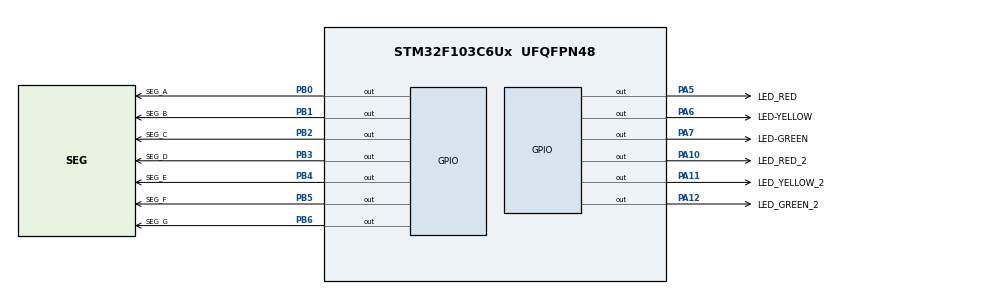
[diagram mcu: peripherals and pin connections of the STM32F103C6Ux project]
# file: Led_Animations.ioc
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Mcu.Family=STM32F1
Mcu.Name=STM32F103C6Ux
Mcu.Package=UFQFPN48
NVIC.PriorityGroup=NVIC_PRIORITYGROUP_4
PA10.GPIO_Label=LED_RED_2
PA10.Signal=GPIO_Output
PA11.GPIO_Label=LED_YELLOW_2
PA11.Signal=GPIO_Output
PA12.GPIO_Label=LED_GREEN_2
PA12.Signal=GPIO_Output
PA5.GPIO_Label=LED_RED
PA5.Signal=GPIO_Output
PA6.GPIO_Label=LED-YELLOW
PA6.Signal=GPIO_Output
PA7.GPIO_Label=LED-GREEN
PA7.Signal=GPIO_Output
PB0.GPIO_Label=SEG_A
PB0.Signal=GPIO_Output
PB1.GPIO_Label=SEG_B
PB1.Signal=GPIO_Output
PB2.GPIO_Label=SEG_C
PB2.Signal=GPIO_Output
PB3.GPIO_Label=SEG_D
PB3.Signal=GPIO_Output
PB4.GPIO_Label=SEG_E
PB4.Signal=GPIO_Output
PB5.GPIO_Label=SEG_F
PB5.Signal=GPIO_Output
PB6.GPIO_Label=SEG_G
PB6.Signal=GPIO_Output
ProjectManager.HeapSize=0x200
ProjectManager.StackSize=0x400
ProjectManager.TargetToolchain=STM32CubeIDE
RCC.APB1Freq_Value=8000000
RCC.APB2Freq_Value=8000000
board=custom

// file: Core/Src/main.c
/* USER CODE BEGIN Header */
/**
  ******************************************************************************
  * @file           : main.c
  * @brief          : Main program body
  ******************************************************************************
  * @attention
  *
  * Copyright (c) 2022 STMicroelectronics.
  * All rights reserved.
  *
  * This software is licensed under terms that can be found in the LICENSE file
  * in the root directory of this software component.
  * If no LICENSE file comes with this software, it is provided AS-IS.
  *
  ******************************************************************************
  */
/* USER CODE END Header */
#include "main.h"

/* USER CODE BEGIN PTD */
typedef enum {
	RED = 0x06,
	GREEN = 0x03,
	YELLOW = 0x05,
} trafficLightColor;

/* USER CODE END PTD */

/* USER CODE BEGIN PD */
// Delay time
#define	DELAY_TIME			1000 // 1 second delay

// Toggle every period (in seconds)
#define	TOGGLE_PERIOD		2

// Traffic light configuration (in seconds)
#define	GREEN_LIGHT_TIME	3
#define	YELLOW_LIGHT_TIME	2
#define	RED_LIGHT_TIME		GREEN_LIGHT_TIME + YELLOW_LIGHT_TIME

// Seven segment
#define SEVEN_SEG_VALUES	10

// Counter max value
#define COUNTER_MAX			255 // 8-bit counter
/* USER CODE END PD */

/* USER CODE BEGIN PV */
static uint8_t secCounter = 0; // second counter for exercises below

// Two traffic lights' state for 4-way configuration

const uint8_t sevenSegValue[SEVEN_SEG_VALUES] = {
	0x40, // 0
	0x79, // 1
	0x24, // 2
	0x30, // 3
	0x19, // 4
	0x12, // 5
	0x02, // 6
	0x78, // 7
	0x00, // 8
	0x10, // 9
};
/* USER CODE END PV */

void SystemClock_Config(void);
static void MX_GPIO_Init(void);
/* USER CODE BEGIN PFP */
void turnLedOn(GPIO_TypeDef* port, uint16_t pin);
void turnLedOff(GPIO_TypeDef* port, uint16_t pin);
void display7SEG(int num);
void exercise1(void);
void exercise2(void);
void trafficLight1Operation(trafficLightColor trafficLight1);
void trafficLight2Operation(trafficLightColor trafficLight2);
void exercise3(void);
void exercise4(void);
/* USER CODE END PFP */

/* USER CODE BEGIN 0 */
void turnLedOn(GPIO_TypeDef* port, uint16_t pin) {
	HAL_GPIO_WritePin (port , pin, GPIO_PIN_RESET);
}

void turnLedOff(GPIO_TypeDef* port, uint16_t pin) {
	HAL_GPIO_WritePin (port , pin, GPIO_PIN_SET);
}

void display7SEG(int num) {
	uint8_t index = 0;
	HAL_GPIO_WritePin(SEG_A_GPIO_Port, SEG_A_Pin, (sevenSegValue[num] >> index++) & 0x01);
	HAL_GPIO_WritePin(SEG_B_GPIO_Port, SEG_B_Pin, (sevenSegValue[num] >> index++) & 0x01);
	HAL_GPIO_WritePin(SEG_C_GPIO_Port, SEG_C_Pin, (sevenSegValue[num] >> index++) & 0x01);
	HAL_GPIO_WritePin(SEG_D_GPIO_Port, SEG_D_Pin, (sevenSegValue[num] >> index++) & 0x01);
	HAL_GPIO_WritePin(SEG_E_GPIO_Port, SEG_E_Pin, (sevenSegValue[num] >> index++) & 0x01);
	HAL_GPIO_WritePin(SEG_F_GPIO_Port, SEG_F_Pin, (sevenSegValue[num] >> index++) & 0x01);
	HAL_GPIO_WritePin(SEG_G_GPIO_Port, SEG_G_Pin, (sevenSegValue[num] >> index) & 0x01);
}

void exercise1(void) {
	if(secCounter == 0) { // initial state
		turnLedOn(LED_RED_GPIO_Port, LED_RED_Pin);
		turnLedOff(LED_YELLOW_GPIO_Port, LED_YELLOW_Pin);
	}
	else if(secCounter % TOGGLE_PERIOD == 0) { // toggle both LEDs every period
		HAL_GPIO_TogglePin(LED_RED_GPIO_Port, LED_RED_Pin);
		HAL_GPIO_TogglePin(LED_YELLOW_GPIO_Port, LED_YELLOW_Pin);
	}
	secCounter++;
	if(secCounter >= COUNTER_MAX) secCounter = 1; // prevent the 8-bit counter from overflowing
}

void trafficLight1Operation(trafficLightColor trafficLight1) {
	uint8_t index = 0;
	HAL_GPIO_WritePin(LED_RED_GPIO_Port , LED_RED_Pin, (trafficLight1 >> index++) & 0x01);
	HAL_GPIO_WritePin(LED_YELLOW_GPIO_Port , LED_YELLOW_Pin, (trafficLight1 >> index++) & 0x01);
	HAL_GPIO_WritePin(LED_GREEN_GPIO_Port, LED_GREEN_Pin, (trafficLight1 >> index) & 0x01);
}

void trafficLight2Operation(trafficLightColor trafficLight2) {
	uint8_t index = 0;
	HAL_GPIO_WritePin(LED_RED_2_GPIO_Port , LED_RED_2_Pin, (trafficLight2 >> index++) & 0x01);
	HAL_GPIO_WritePin(LED_YELLOW_2_GPIO_Port , LED_YELLOW_2_Pin, (trafficLight2 >> index++) & 0x01);
	HAL_GPIO_WritePin(LED_GREEN_2_GPIO_Port, LED_GREEN_2_Pin, (trafficLight2 >> index) & 0x01);
}

void exercise2(void) {
	if(secCounter < RED_LIGHT_TIME) {
		trafficLight1Operation(RED);
	}
	else if(secCounter < RED_LIGHT_TIME + GREEN_LIGHT_TIME) {
		trafficLight1Operation(GREEN);
	}
	else {
		trafficLight1Operation(YELLOW);
	}
	secCounter = (secCounter + 1) % (RED_LIGHT_TIME + RED_LIGHT_TIME); // RED + GRN + YEL = RED + RED
}

void exercise3(void) {
	if(secCounter < RED_LIGHT_TIME) {
		trafficLight1Operation(RED);
		if(secCounter < GREEN_LIGHT_TIME) {
			trafficLight2Operation(GREEN);
		}
		else {
			trafficLight2Operation(YELLOW);
		}
	}
	else if(secCounter < RED_LIGHT_TIME + GREEN_LIGHT_TIME) {
		trafficLight1Operation(GREEN);
		trafficLight2Operation(RED);
	}
	else {
		trafficLight1Operation(YELLOW);
		trafficLight2Operation(RED);
	}
	secCounter = (secCounter + 1) % (RED_LIGHT_TIME + RED_LIGHT_TIME);
}

void exercise4(void) {
	if(secCounter >= 10) secCounter = 0;
	display7SEG(secCounter++);
}

void exercise5(void) {
	if(secCounter < RED_LIGHT_TIME) {
		trafficLight1Operation(RED);
		if(secCounter < GREEN_LIGHT_TIME) {
			trafficLight2Operation(GREEN);
		}
		else {
			trafficLight2Operation(YELLOW);
		}
		display7SEG(RED_LIGHT_TIME - secCounter);
	}
	else if(secCounter < RED_LIGHT_TIME + GREEN_LIGHT_TIME) {
		trafficLight1Operation(GREEN);
		trafficLight2Operation(RED);
		display7SEG(RED_LIGHT_TIME + GREEN_LIGHT_TIME - secCounter);
	}
	else {
		trafficLight1Operation(YELLOW);
		trafficLight2Operation(RED);
		display7SEG(RED_LIGHT_TIME + RED_LIGHT_TIME - secCounter);
	}
	secCounter = (secCounter + 1) % (RED_LIGHT_TIME + RED_LIGHT_TIME);
}
/* USER CODE END 0 */

int main(void)
{

  /* MCU Configuration--------------------------------------------------------*/

  /* Reset of all peripherals, Initializes the Flash interface and the Systick. */
  HAL_Init();

  /* Configure the system clock */
  SystemClock_Config();

  /* Initialize all configured peripherals */
  MX_GPIO_Init();

  /* Infinite loop */
  /* USER CODE BEGIN WHILE */
  while (1)
  {
	/* Exercise 4 */
	exercise5();
	HAL_Delay(DELAY_TIME);
    /* USER CODE END WHILE */

  }
}

void SystemClock_Config(void)
{
  RCC_OscInitTypeDef RCC_OscInitStruct = {0};
  RCC_ClkInitTypeDef RCC_ClkInitStruct = {0};

  /** Initializes the RCC Oscillators according to the specified parameters
  * in the RCC_OscInitTypeDef structure.
  */
  RCC_OscInitStruct.OscillatorType = RCC_OSCILLATORTYPE_HSI;
  RCC_OscInitStruct.HSIState = RCC_HSI_ON;
  RCC_OscInitStruct.HSICalibrationValue = RCC_HSICALIBRATION_DEFAULT;
  RCC_OscInitStruct.PLL.PLLState = RCC_PLL_NONE;
  if (HAL_RCC_OscConfig(&RCC_OscInitStruct) != HAL_OK)
  {
    Error_Handler();
  }

  /** Initializes the CPU, AHB and APB buses clocks
  */
  RCC_ClkInitStruct.ClockType = RCC_CLOCKTYPE_HCLK|RCC_CLOCKTYPE_SYSCLK
                              |RCC_CLOCKTYPE_PCLK1|RCC_CLOCKTYPE_PCLK2;
  RCC_ClkInitStruct.SYSCLKSource = RCC_SYSCLKSOURCE_HSI;
  RCC_ClkInitStruct.AHBCLKDivider = RCC_SYSCLK_DIV1;
  RCC_ClkInitStruct.APB1CLKDivider = RCC_HCLK_DIV1;
  RCC_ClkInitStruct.APB2CLKDivider = RCC_HCLK_DIV1;

  if (HAL_RCC_ClockConfig(&RCC_ClkInitStruct, FLASH_LATENCY_0) != HAL_OK)
  {
    Error_Handler();
  }
}

static void MX_GPIO_Init(void)
{
  GPIO_InitTypeDef GPIO_InitStruct = {0};

  /* GPIO Ports Clock Enable */
  __HAL_RCC_GPIOA_CLK_ENABLE();
  __HAL_RCC_GPIOB_CLK_ENABLE();

  /*Configure GPIO pin Output Level */
  HAL_GPIO_WritePin(GPIOA, LED_RED_Pin|LED_YELLOW_Pin|LED_GREEN_Pin|LED_RED_2_Pin
                          |LED_YELLOW_2_Pin|LED_GREEN_2_Pin, GPIO_PIN_RESET);

  /*Configure GPIO pin Output Level */
  HAL_GPIO_WritePin(GPIOB, SEG_A_Pin|SEG_B_Pin|SEG_C_Pin|SEG_D_Pin
                          |SEG_E_Pin|SEG_F_Pin|SEG_G_Pin, GPIO_PIN_RESET);

  /*Configure GPIO pins : LED_RED_Pin LED_YELLOW_Pin LED_GREEN_Pin LED_RED_2_Pin
                           LED_YELLOW_2_Pin LED_GREEN_2_Pin */
  GPIO_InitStruct.Pin = LED_RED_Pin|LED_YELLOW_Pin|LED_GREEN_Pin|LED_RED_2_Pin
                          |LED_YELLOW_2_Pin|LED_GREEN_2_Pin;
  GPIO_InitStruct.Mode = GPIO_MODE_OUTPUT_PP;
  GPIO_InitStruct.Pull = GPIO_NOPULL;
  GPIO_InitStruct.Speed = GPIO_SPEED_FREQ_LOW;
  HAL_GPIO_Init(GPIOA, &GPIO_InitStruct);

  /*Configure GPIO pins : SEG_A_Pin SEG_B_Pin SEG_C_Pin SEG_D_Pin
                           SEG_E_Pin SEG_F_Pin SEG_G_Pin */
  GPIO_InitStruct.Pin = SEG_A_Pin|SEG_B_Pin|SEG_C_Pin|SEG_D_Pin
                          |SEG_E_Pin|SEG_F_Pin|SEG_G_Pin;
  GPIO_InitStruct.Mode = GPIO_MODE_OUTPUT_PP;
  GPIO_InitStruct.Pull = GPIO_NOPULL;
  GPIO_InitStruct.Speed = GPIO_SPEED_FREQ_LOW;
  HAL_GPIO_Init(GPIOB, &GPIO_InitStruct);

}

void Error_Handler(void)
{
  __disable_irq();
  while (1)
  {
  }
}
